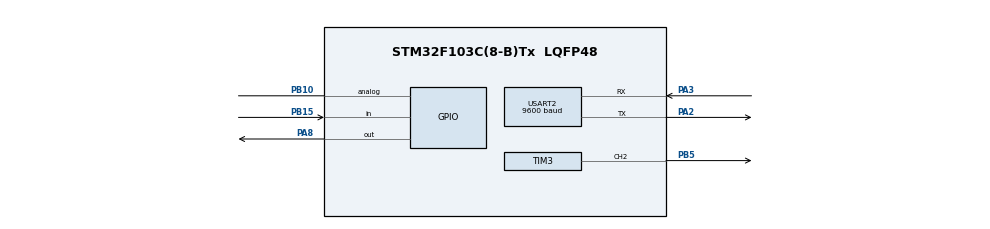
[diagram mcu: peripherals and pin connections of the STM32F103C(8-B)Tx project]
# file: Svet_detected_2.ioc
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Mcu.Family=STM32F1
Mcu.Name=STM32F103C(8-B)Tx
Mcu.Package=LQFP48
NVIC.PriorityGroup=NVIC_PRIORITYGROUP_4
NVIC.TIM2_IRQn=true\:0\:0\:false\:false\:true\:true\:true\:true
NVIC.TIM3_IRQn=true\:0\:0\:false\:false\:true\:true\:true\:true
NVIC.TIM4_IRQn=true\:0\:0\:false\:false\:true\:true\:true\:true
PA1.Signal=S_TIM2_CH2
PA13.Mode=Serial_Wire
PA13.Signal=SYS_JTMS-SWDIO
PA14.Mode=Serial_Wire
PA14.Signal=SYS_JTCK-SWCLK
PA2.Mode=Asynchronous
PA2.Signal=USART2_TX
PA3.Mode=Asynchronous
PA3.Signal=USART2_RX
PA8.GPIO_Speed=GPIO_SPEED_FREQ_HIGH
PA8.Signal=GPIO_Output
PB10.Signal=GPIO_Analog
PB15.Signal=GPIO_Input
PB5.Signal=S_TIM3_CH2
ProjectManager.HeapSize=0x200
ProjectManager.StackSize=0x400
ProjectManager.TargetToolchain=STM32CubeIDE
RCC.APB1Freq_Value=8000000
RCC.APB2Freq_Value=8000000
SH.S_TIM2_CH2.0=TIM2_CH2
SH.S_TIM3_CH2.0=TIM3_CH2,PWM Generation2 CH2
TIM2.Period=50000
TIM2.Prescaler=80-1
TIM3.Channel-PWM\ Generation2\ CH2=TIM_CHANNEL_2
TIM3.Period=65535
TIM3.Prescaler=80-1
TIM4.Period=50000
TIM4.Prescaler=40-1
USART2.BaudRate=9600
USART2.VirtualMode=VM_ASYNC
VP_TIM2_VS_ClockSourceINT.Mode=Internal
VP_TIM3_VS_ClockSourceINT.Mode=Internal
VP_TIM4_VS_ClockSourceINT.Mode=Internal
board=custom

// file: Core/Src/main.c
/* USER CODE BEGIN Header */
/**
  ******************************************************************************
  * @file           : main.c
  * @brief          : Main program body
  ******************************************************************************
  * @attention
  *
  * Copyright (c) 2025 STMicroelectronics.
  * All rights reserved.
  *
  * This software is licensed under terms that can be found in the LICENSE file
  * in the root directory of this software component.
  * If no LICENSE file comes with this software, it is provided AS-IS.
  *
  ******************************************************************************
  */
/* USER CODE END Header */
#include "main.h"

TIM_HandleTypeDef htim2;
TIM_HandleTypeDef htim3;
TIM_HandleTypeDef htim4;

UART_HandleTypeDef huart2;

void SystemClock_Config(void);
static void MX_GPIO_Init(void);
static void MX_TIM3_Init(void);
static void MX_TIM2_Init(void);
static void MX_TIM4_Init(void);
static void MX_USART2_UART_Init(void);

/* USER CODE BEGIN 0 */
#define PID_DUTY_CYCLE_MIN                                          0 // 5000 - минимальный Ш�?М
#define PID_DUTY_CYCLE_MAX                                          65535 // 65535 - максимальный Ш�?М

extern float second_period; // период регулирования - для таймера 2
extern int flag_speed_test; // тестовое переключение скоростей

float speed_temp = 0; // буфер для записи скорости
float speed_massiv = 0; // итоговая скорость
float speed_uart = 0; // скорость на юарт
float n_second = 0.2; // период регулирования - для майна

float pwmDutyCycle = 65535/5; // начальный Ш�?М
float Kp = 5; // Порпорциональный коэффициент
float Ki = 5; // �?нтегральный коэффициент
float Kd = 5; // Дифференциальный коэффициент
float errorPrevious = 0; // Предыдущая ошибка (невязка)
float errorCurrent = 0; // Текущая ошибка (невязка)
float errorIntegral = 0; // Ошибка интегрирования
float errorDifferential = 0; // Ошибка дифференцирования
uint32_t timeCounterMs = 0; // Период регулирования для П�?Да

float targetSpeed = 70000; // Необходимая скорость

uint8_t str[] = "xz\r\n";
/* USER CODE END 0 */

int main(void)
{

  /* MCU Configuration--------------------------------------------------------*/

  /* Reset of all peripherals, Initializes the Flash interface and the Systick. */
  HAL_Init();

  /* Configure the system clock */
  SystemClock_Config();

  /* Initialize all configured peripherals */
  MX_GPIO_Init();
  MX_TIM3_Init();
  MX_TIM2_Init();
  MX_TIM4_Init();
  MX_USART2_UART_Init();
  /* USER CODE BEGIN 2 */
  HAL_TIM_PWM_Start(&htim2,TIM_CHANNEL_2); // Подача Ш�?М на таймер 2
  HAL_TIM_PWM_Start(&htim3,TIM_CHANNEL_2); // Подача Ш�?М на таймер 3

  HAL_TIM_Base_Start_IT(&htim2); // Старт прерываний на таймере 2
  HAL_TIM_Base_Start_IT(&htim3); // Старт прерываний на таймере 3
  HAL_TIM_Base_Start_IT(&htim4); // Старт прерываний на таймере 4

  __HAL_TIM_CLEAR_FLAG(&htim2, TIM_SR_UIF); // Зачистка флага на таймере 2
  __HAL_TIM_CLEAR_FLAG(&htim3, TIM_SR_UIF); // Зачистка флага на таймере 3
  __HAL_TIM_CLEAR_FLAG(&htim4, TIM_SR_UIF); // Зачистка флага на таймере 4

  TIM3->CCR2 = pwmDutyCycle; // Подача определнного Ш�?М на таймер
  TIM2->CCR2 = 0;

  /* USER CODE END 2 */

  /* Infinite loop */
  while (1)
  {

    /* USER CODE BEGIN 3 */

	  // Тест ПИД (переключение скоростей каждые 30 секунд)
	  /*if (flag_speed_test == 1)
	  {
		  targetSpeed = 3800;
	  }
	  if (flag_speed_test == 2)
	  {
		  targetSpeed = 2500;
	  }
	  if (flag_speed_test == 3)
	  {
		  targetSpeed = 3500;
	  }
	  if (flag_speed_test == 4)
	  {
		  targetSpeed = 1500;
	  }
	  if (flag_speed_test == 5)
	  {
		  targetSpeed = 2000;
	  }
	  if (flag_speed_test == 6)
	  {
		  targetSpeed = 3000;
	  }
	  */

	  // ПИД-регулятор
	  if (second_period == n_second) // П�?Д-регулятор
	  {
		  timeCounterMs = n_second*1000;
		  float timeCounterSec = (float)timeCounterMs / 1000;
		  errorCurrent = targetSpeed - speed_massiv/5*60/n_second;
		  errorIntegral += errorCurrent * timeCounterSec;
		  errorDifferential = (errorCurrent - errorPrevious) / timeCounterSec;
		  pwmDutyCycle = Kp * errorCurrent + Ki * errorIntegral + Kd * errorDifferential;
		  if (errorIntegral < PID_DUTY_CYCLE_MIN)
		  		  {
		  			  errorIntegral = PID_DUTY_CYCLE_MIN;
		  		  }
		  		  if (errorIntegral > PID_DUTY_CYCLE_MAX)
		  		  {
		  			  errorIntegral = PID_DUTY_CYCLE_MAX;
		  		  }
		  if (pwmDutyCycle < PID_DUTY_CYCLE_MIN)
		  {
			  pwmDutyCycle = PID_DUTY_CYCLE_MIN;
		  }
		  if (pwmDutyCycle > PID_DUTY_CYCLE_MAX)
		  {
			  pwmDutyCycle = PID_DUTY_CYCLE_MAX;
		  }
		  errorPrevious = errorCurrent;
		  timeCounterMs = 0;
		  TIM3->CCR2 = (uint16_t)pwmDutyCycle;

		  speed_uart = speed_massiv/5*60/n_second;
		  sprintf(str, "%d\r\n", (uint16_t)speed_uart);
		  HAL_UART_Transmit(&huart2, str, strlen(str), 0xFFFF);

		  second_period = 0;
	  }

	  /*
	  if (second_1 == n_second)
	  {
		  timeCounterMs = n_second*1000;
		  float timeCounterSec = (float)timeCounterMs / 1000;

		  errorCurrent = targetSpeed - speed_massiv/5*60/n_second;

		  errorIntegral += errorCurrent * timeCounterSec;

		  if (errorIntegral < PID_DUTY_CYCLE_MIN)
		  {
			  errorIntegral = PID_DUTY_CYCLE_MIN;
		  }
		  if (errorIntegral > PID_DUTY_CYCLE_MAX)
		  {
			  errorIntegral = PID_DUTY_CYCLE_MAX;
		  }

		  errorDifferential = (errorCurrent - errorPrevious) / timeCounterSec;

		  pwmDutyCycle = Kp * errorCurrent + Ki * errorIntegral + Kd * errorDifferential;

		  if (pwmDutyCycle < PID_DUTY_CYCLE_MIN)
		  {
			  pwmDutyCycle = PID_DUTY_CYCLE_MIN;
		  }
		  if (pwmDutyCycle > PID_DUTY_CYCLE_MAX)
		  {
			  pwmDutyCycle = PID_DUTY_CYCLE_MAX;
		  }

		  errorPrevious = errorCurrent;
		  timeCounterMs = 0;

		  speed_uart = speed_massiv/5*60/n_second;

		  TIM3->CCR2 = (uint16_t)pwmDutyCycle;

		  second_1 = 0;
	  }
	   */

	  /*
	  TIM2->CCR2 = 0;
	  TIM3->CCR2 = 65535;

	  HAL_Delay(5000);
	  */

	  /*if (GPIOB->IDR & GPIO_PIN_15)
	  {
		  speed++;
		  HAL_GPIO_WritePin(GPIOA, GPIO_PIN_8, GPIO_PIN_SET); // черные метки: 5
	  }
	  else
	  {
		  HAL_GPIO_WritePin(GPIOA, GPIO_PIN_8, GPIO_PIN_RESET); // нечерные метки
	  }
	  */
  }
  /* USER CODE END 3 */
}

void SystemClock_Config(void)
{
  RCC_OscInitTypeDef RCC_OscInitStruct = {0};
  RCC_ClkInitTypeDef RCC_ClkInitStruct = {0};

  /** Initializes the RCC Oscillators according to the specified parameters
  * in the RCC_OscInitTypeDef structure.
  */
  RCC_OscInitStruct.OscillatorType = RCC_OSCILLATORTYPE_HSI;
  RCC_OscInitStruct.HSIState = RCC_HSI_ON;
  RCC_OscInitStruct.HSICalibrationValue = RCC_HSICALIBRATION_DEFAULT;
  RCC_OscInitStruct.PLL.PLLState = RCC_PLL_NONE;
  if (HAL_RCC_OscConfig(&RCC_OscInitStruct) != HAL_OK)
  {
    Error_Handler();
  }

  /** Initializes the CPU, AHB and APB buses clocks
  */
  RCC_ClkInitStruct.ClockType = RCC_CLOCKTYPE_HCLK|RCC_CLOCKTYPE_SYSCLK
                              |RCC_CLOCKTYPE_PCLK1|RCC_CLOCKTYPE_PCLK2;
  RCC_ClkInitStruct.SYSCLKSource = RCC_SYSCLKSOURCE_HSI;
  RCC_ClkInitStruct.AHBCLKDivider = RCC_SYSCLK_DIV1;
  RCC_ClkInitStruct.APB1CLKDivider = RCC_HCLK_DIV1;
  RCC_ClkInitStruct.APB2CLKDivider = RCC_HCLK_DIV1;

  if (HAL_RCC_ClockConfig(&RCC_ClkInitStruct, FLASH_LATENCY_0) != HAL_OK)
  {
    Error_Handler();
  }
}

static void MX_TIM2_Init(void)
{

  TIM_ClockConfigTypeDef sClockSourceConfig = {0};
  TIM_MasterConfigTypeDef sMasterConfig = {0};

  htim2.Instance = TIM2;
  htim2.Init.Prescaler = 1-1;
  htim2.Init.CounterMode = TIM_COUNTERMODE_UP;
  htim2.Init.Period = 160;
  htim2.Init.ClockDivision = TIM_CLOCKDIVISION_DIV1;
  htim2.Init.AutoReloadPreload = TIM_AUTORELOAD_PRELOAD_DISABLE;
  if (HAL_TIM_Base_Init(&htim2) != HAL_OK)
  {
    Error_Handler();
  }
  sClockSourceConfig.ClockSource = TIM_CLOCKSOURCE_INTERNAL;
  if (HAL_TIM_ConfigClockSource(&htim2, &sClockSourceConfig) != HAL_OK)
  {
    Error_Handler();
  }
  sMasterConfig.MasterOutputTrigger = TIM_TRGO_RESET;
  sMasterConfig.MasterSlaveMode = TIM_MASTERSLAVEMODE_DISABLE;
  if (HAL_TIMEx_MasterConfigSynchronization(&htim2, &sMasterConfig) != HAL_OK)
  {
    Error_Handler();
  }

}

static void MX_TIM3_Init(void)
{

  TIM_ClockConfigTypeDef sClockSourceConfig = {0};
  TIM_MasterConfigTypeDef sMasterConfig = {0};
  TIM_OC_InitTypeDef sConfigOC = {0};

  htim3.Instance = TIM3;
  htim3.Init.Prescaler = 1-1;
  htim3.Init.CounterMode = TIM_COUNTERMODE_UP;
  htim3.Init.Period = 65535;
  htim3.Init.ClockDivision = TIM_CLOCKDIVISION_DIV1;
  htim3.Init.AutoReloadPreload = TIM_AUTORELOAD_PRELOAD_DISABLE;
  if (HAL_TIM_Base_Init(&htim3) != HAL_OK)
  {
    Error_Handler();
  }
  sClockSourceConfig.ClockSource = TIM_CLOCKSOURCE_INTERNAL;
  if (HAL_TIM_ConfigClockSource(&htim3, &sClockSourceConfig) != HAL_OK)
  {
    Error_Handler();
  }
  if (HAL_TIM_PWM_Init(&htim3) != HAL_OK)
  {
    Error_Handler();
  }
  sMasterConfig.MasterOutputTrigger = TIM_TRGO_RESET;
  sMasterConfig.MasterSlaveMode = TIM_MASTERSLAVEMODE_DISABLE;
  if (HAL_TIMEx_MasterConfigSynchronization(&htim3, &sMasterConfig) != HAL_OK)
  {
    Error_Handler();
  }
  sConfigOC.OCMode = TIM_OCMODE_PWM1;
  sConfigOC.Pulse = 0;
  sConfigOC.OCPolarity = TIM_OCPOLARITY_HIGH;
  sConfigOC.OCFastMode = TIM_OCFAST_DISABLE;
  if (HAL_TIM_PWM_ConfigChannel(&htim3, &sConfigOC, TIM_CHANNEL_2) != HAL_OK)
  {
    Error_Handler();
  }
  HAL_TIM_MspPostInit(&htim3);

}

static void MX_TIM4_Init(void)
{

  TIM_ClockConfigTypeDef sClockSourceConfig = {0};
  TIM_MasterConfigTypeDef sMasterConfig = {0};

  htim4.Instance = TIM4;
  htim4.Init.Prescaler = 40-1;
  htim4.Init.CounterMode = TIM_COUNTERMODE_UP;
  htim4.Init.Period = 50000;
  htim4.Init.ClockDivision = TIM_CLOCKDIVISION_DIV1;
  htim4.Init.AutoReloadPreload = TIM_AUTORELOAD_PRELOAD_DISABLE;
  if (HAL_TIM_Base_Init(&htim4) != HAL_OK)
  {
    Error_Handler();
  }
  sClockSourceConfig.ClockSource = TIM_CLOCKSOURCE_INTERNAL;
  if (HAL_TIM_ConfigClockSource(&htim4, &sClockSourceConfig) != HAL_OK)
  {
    Error_Handler();
  }
  sMasterConfig.MasterOutputTrigger = TIM_TRGO_RESET;
  sMasterConfig.MasterSlaveMode = TIM_MASTERSLAVEMODE_DISABLE;
  if (HAL_TIMEx_MasterConfigSynchronization(&htim4, &sMasterConfig) != HAL_OK)
  {
    Error_Handler();
  }

}

static void MX_USART2_UART_Init(void)
{

  huart2.Instance = USART2;
  huart2.Init.BaudRate = 9600;
  huart2.Init.WordLength = UART_WORDLENGTH_8B;
  huart2.Init.StopBits = UART_STOPBITS_1;
  huart2.Init.Parity = UART_PARITY_NONE;
  huart2.Init.Mode = UART_MODE_TX_RX;
  huart2.Init.HwFlowCtl = UART_HWCONTROL_NONE;
  huart2.Init.OverSampling = UART_OVERSAMPLING_16;
  if (HAL_UART_Init(&huart2) != HAL_OK)
  {
    Error_Handler();
  }

}

static void MX_GPIO_Init(void)
{
  GPIO_InitTypeDef GPIO_InitStruct = {0};

  /* GPIO Ports Clock Enable */
  __HAL_RCC_GPIOA_CLK_ENABLE();
  __HAL_RCC_GPIOB_CLK_ENABLE();

  /*Configure GPIO pin Output Level */
  HAL_GPIO_WritePin(GPIOA, GPIO_PIN_8, GPIO_PIN_RESET);

  /*Configure GPIO pin : PB10 */
  GPIO_InitStruct.Pin = GPIO_PIN_10;
  GPIO_InitStruct.Mode = GPIO_MODE_ANALOG;
  HAL_GPIO_Init(GPIOB, &GPIO_InitStruct);

  /*Configure GPIO pin : PB15 */
  GPIO_InitStruct.Pin = GPIO_PIN_15;
  GPIO_InitStruct.Mode = GPIO_MODE_INPUT;
  GPIO_InitStruct.Pull = GPIO_NOPULL;
  HAL_GPIO_Init(GPIOB, &GPIO_InitStruct);

  /*Configure GPIO pin : PA8 */
  GPIO_InitStruct.Pin = GPIO_PIN_8;
  GPIO_InitStruct.Mode = GPIO_MODE_OUTPUT_PP;
  GPIO_InitStruct.Pull = GPIO_NOPULL;
  GPIO_InitStruct.Speed = GPIO_SPEED_FREQ_HIGH;
  HAL_GPIO_Init(GPIOA, &GPIO_InitStruct);

}

void Error_Handler(void)
{
  __disable_irq();
  while (1)
  {
  }
}
